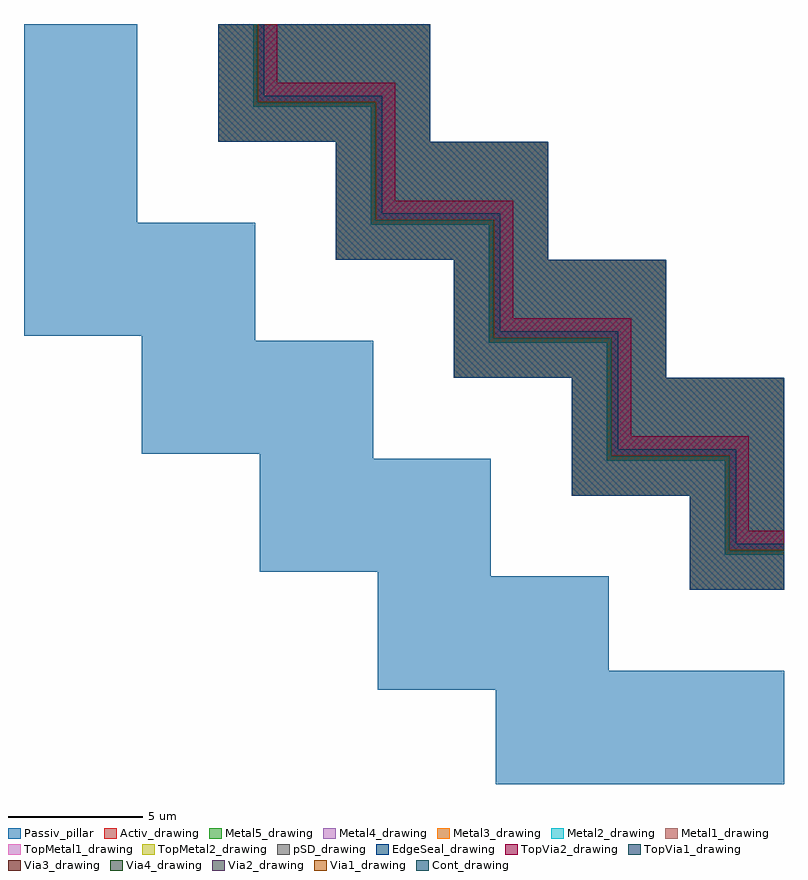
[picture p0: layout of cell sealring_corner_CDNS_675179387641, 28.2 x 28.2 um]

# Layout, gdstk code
import gdstk
lib = gdstk.Library(unit=1e-6, precision=1e-09)
def P(c, l, *ps):  # polygons
    for p in ps: c.add(gdstk.Polygon(p, *l))
Activ_drawing = (1, 0)
Cont_drawing = (6, 0)
Metal1_drawing = (8, 0)
Passiv_pillar = (9, 35)
Metal2_drawing = (10, 0)
pSD_drawing = (14, 0)
Via1_drawing = (19, 0)
Via2_drawing = (29, 0)
Metal3_drawing = (30, 0)
EdgeSeal_drawing = (39, 0)
Via3_drawing = (49, 0)
Metal4_drawing = (50, 0)
Via4_drawing = (66, 0)
Metal5_drawing = (67, 0)
TopVia1_drawing = (125, 0)
TopMetal1_drawing = (126, 0)
TopVia2_drawing = (133, 0)
TopMetal2_drawing = (134, 0)

sealring_corner_cdns_675 = lib.new_cell('sealring_corner_CDNS_675179387641')
P(sealring_corner_cdns_675, Activ_drawing, [(17.5,0),(17.5,3.5),(13.125,3.5),(13.125,7.875),(8.75,7.875),(8.75,12.25),(4.375,12.25),(4.375,16.625),(0,16.625),(0,21),(7.875,21),(7.875,16.625),(12.25,16.625),(12.25,12.25),(16.625,12.25),(16.625,7.875),(21,7.875),(21,0)])
P(sealring_corner_cdns_675, Cont_drawing, [(18.8,1.3),(18.8,4.8),(14.425,4.8),(14.425,9.175),(10.05,9.175),(10.05,13.55),(5.675,13.55),(5.675,17.925),(1.3,17.925),(1.3,21),(1.46,21),(1.46,18.085),(5.835,18.085),(5.835,13.71),(10.21,13.71),(10.21,9.335),(14.585,9.335),(14.585,4.96),(18.96,4.96),(18.96,1.46),(21,1.46),(21,1.3)])
P(sealring_corner_cdns_675, Metal1_drawing, [(17.5,0),(17.5,3.5),(13.125,3.5),(13.125,7.875),(8.75,7.875),(8.75,12.25),(4.375,12.25),(4.375,16.625),(0,16.625),(0,21),(7.875,21),(7.875,16.625),(12.25,16.625),(12.25,12.25),(16.625,12.25),(16.625,7.875),(21,7.875),(21,0)])
P(sealring_corner_cdns_675, Passiv_pillar, [(10.3,-7.2),(10.3,-3.7),(5.925,-3.7),(5.925,0.675),(1.55,0.675),(1.55,5.05),(-2.825,5.05),(-2.825,9.425),(-7.2,9.425),(-7.2,21),(-3,21),(-3,13.625),(1.375,13.625),(1.375,9.25),(5.75,9.25),(5.75,4.875),(10.125,4.875),(10.125,0.5),(14.5,0.5),(14.5,-3),(21,-3),(21,-7.2)])
P(sealring_corner_cdns_675, Metal2_drawing, [(17.5,0),(17.5,3.5),(13.125,3.5),(13.125,7.875),(8.75,7.875),(8.75,12.25),(4.375,12.25),(4.375,16.625),(0,16.625),(0,21),(7.875,21),(7.875,16.625),(12.25,16.625),(12.25,12.25),(16.625,12.25),(16.625,7.875),(21,7.875),(21,0)])
P(sealring_corner_cdns_675, pSD_drawing, [(17.5,0),(17.5,3.5),(13.125,3.5),(13.125,7.875),(8.75,7.875),(8.75,12.25),(4.375,12.25),(4.375,16.625),(0,16.625),(0,21),(7.875,21),(7.875,16.625),(12.25,16.625),(12.25,12.25),(16.625,12.25),(16.625,7.875),(21,7.875),(21,0)])
P(sealring_corner_cdns_675, Via1_drawing, [(18.8,1.3),(18.8,4.8),(14.425,4.8),(14.425,9.175),(10.05,9.175),(10.05,13.55),(5.675,13.55),(5.675,17.925),(1.3,17.925),(1.3,21),(1.49,21),(1.49,18.115),(5.865,18.115),(5.865,13.74),(10.24,13.74),(10.24,9.365),(14.615,9.365),(14.615,4.99),(18.99,4.99),(18.99,1.49),(21,1.49),(21,1.3)])
P(sealring_corner_cdns_675, Via2_drawing, [(18.8,1.3),(18.8,4.8),(14.425,4.8),(14.425,9.175),(10.05,9.175),(10.05,13.55),(5.675,13.55),(5.675,17.925),(1.3,17.925),(1.3,21),(1.49,21),(1.49,18.115),(5.865,18.115),(5.865,13.74),(10.24,13.74),(10.24,9.365),(14.615,9.365),(14.615,4.99),(18.99,4.99),(18.99,1.49),(21,1.49),(21,1.3)])
P(sealring_corner_cdns_675, Metal3_drawing, [(17.5,0),(17.5,3.5),(13.125,3.5),(13.125,7.875),(8.75,7.875),(8.75,12.25),(4.375,12.25),(4.375,16.625),(0,16.625),(0,21),(7.875,21),(7.875,16.625),(12.25,16.625),(12.25,12.25),(16.625,12.25),(16.625,7.875),(21,7.875),(21,0)])
P(sealring_corner_cdns_675, EdgeSeal_drawing, [(17.5,0),(17.5,3.5),(13.125,3.5),(13.125,7.875),(8.75,7.875),(8.75,12.25),(4.375,12.25),(4.375,16.625),(0,16.625),(0,21),(7.875,21),(7.875,16.625),(12.25,16.625),(12.25,12.25),(16.625,12.25),(16.625,7.875),(21,7.875),(21,0)])
P(sealring_corner_cdns_675, Via3_drawing, [(18.8,1.3),(18.8,4.8),(14.425,4.8),(14.425,9.175),(10.05,9.175),(10.05,13.55),(5.675,13.55),(5.675,17.925),(1.3,17.925),(1.3,21),(1.49,21),(1.49,18.115),(5.865,18.115),(5.865,13.74),(10.24,13.74),(10.24,9.365),(14.615,9.365),(14.615,4.99),(18.99,4.99),(18.99,1.49),(21,1.49),(21,1.3)])
P(sealring_corner_cdns_675, Metal4_drawing, [(17.5,0),(17.5,3.5),(13.125,3.5),(13.125,7.875),(8.75,7.875),(8.75,12.25),(4.375,12.25),(4.375,16.625),(0,16.625),(0,21),(7.875,21),(7.875,16.625),(12.25,16.625),(12.25,12.25),(16.625,12.25),(16.625,7.875),(21,7.875),(21,0)])
P(sealring_corner_cdns_675, Via4_drawing, [(18.8,1.3),(18.8,4.8),(14.425,4.8),(14.425,9.175),(10.05,9.175),(10.05,13.55),(5.675,13.55),(5.675,17.925),(1.3,17.925),(1.3,21),(1.49,21),(1.49,18.115),(5.865,18.115),(5.865,13.74),(10.24,13.74),(10.24,9.365),(14.615,9.365),(14.615,4.99),(18.99,4.99),(18.99,1.49),(21,1.49),(21,1.3)])
P(sealring_corner_cdns_675, Metal5_drawing, [(17.5,0),(17.5,3.5),(13.125,3.5),(13.125,7.875),(8.75,7.875),(8.75,12.25),(4.375,12.25),(4.375,16.625),(0,16.625),(0,21),(7.875,21),(7.875,16.625),(12.25,16.625),(12.25,12.25),(16.625,12.25),(16.625,7.875),(21,7.875),(21,0)])
P(sealring_corner_cdns_675, TopVia1_drawing, [(18.8,1.3),(18.8,4.8),(14.425,4.8),(14.425,9.175),(10.05,9.175),(10.05,13.55),(5.675,13.55),(5.675,17.925),(1.3,17.925),(1.3,21),(1.72,21),(1.72,18.345),(6.095,18.345),(6.095,13.97),(10.47,13.97),(10.47,9.595),(14.845,9.595),(14.845,5.22),(19.22,5.22),(19.22,1.72),(21,1.72),(21,1.3)])
P(sealring_corner_cdns_675, TopMetal1_drawing, [(17.5,0),(17.5,3.5),(13.125,3.5),(13.125,7.875),(8.75,7.875),(8.75,12.25),(4.375,12.25),(4.375,16.625),(0,16.625),(0,21),(7.875,21),(7.875,16.625),(12.25,16.625),(12.25,12.25),(16.625,12.25),(16.625,7.875),(21,7.875),(21,0)])
P(sealring_corner_cdns_675, TopVia2_drawing, [(18.8,1.3),(18.8,4.8),(14.425,4.8),(14.425,9.175),(10.05,9.175),(10.05,13.55),(5.675,13.55),(5.675,17.925),(1.3,17.925),(1.3,21),(2.2,21),(2.2,18.825),(6.575,18.825),(6.575,14.45),(10.95,14.45),(10.95,10.075),(15.325,10.075),(15.325,5.7),(19.7,5.7),(19.7,2.2),(21,2.2),(21,1.3)])
P(sealring_corner_cdns_675, TopMetal2_drawing, [(17.5,0),(17.5,3.5),(13.125,3.5),(13.125,7.875),(8.75,7.875),(8.75,12.25),(4.375,12.25),(4.375,16.625),(0,16.625),(0,21),(7.875,21),(7.875,16.625),(12.25,16.625),(12.25,12.25),(16.625,12.25),(16.625,7.875),(21,7.875),(21,0)])

lib.write_gds('sealring_corner_CDNS_675179387641.gds')
